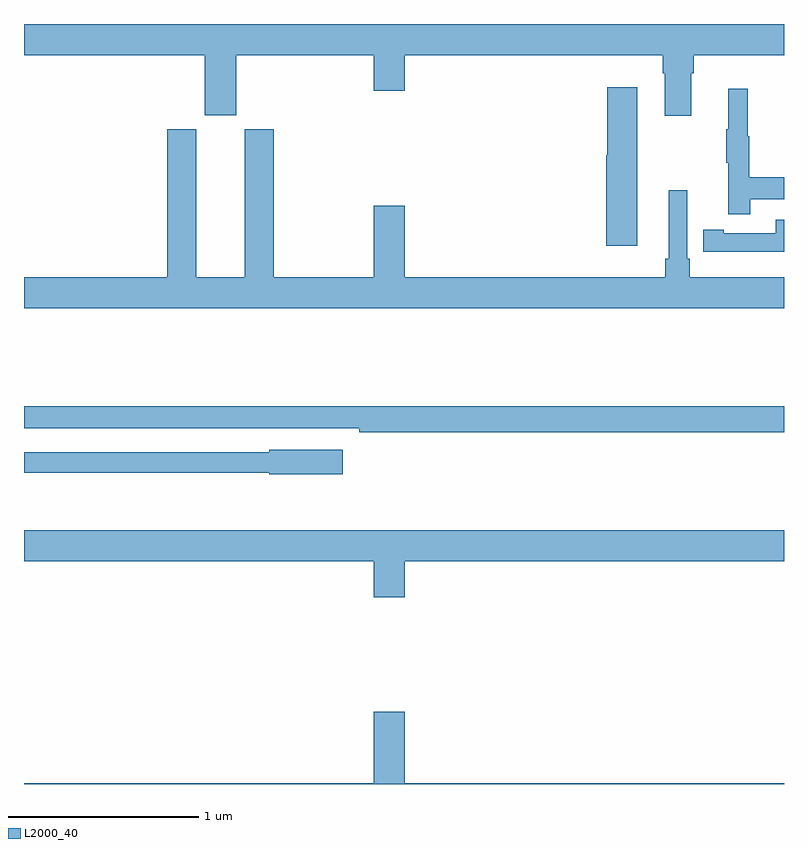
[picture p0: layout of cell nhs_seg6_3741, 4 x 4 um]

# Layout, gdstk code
import gdstk
lib = gdstk.Library(unit=1e-6, precision=1e-09)
def P(c, l, *ps):  # polygons
    for p in ps: c.add(gdstk.Polygon(p, *l))
L2000_40 = (2000, 40)

nhs_seg6_3741 = lib.new_cell('nhs_seg6_3741')
P(nhs_seg6_3741, L2000_40, [(331,947.336),(331.952,947.336),(331.952,947.019),(332.116,947.019),(332.116,947.336),(332.84,947.336),(332.84,947.148),(333.004,947.148),(333.004,947.336),(334.361,947.336),(334.361,947.24),(334.373,947.24),(334.373,947.016),(334.513,947.016),(334.513,947.24),(334.526,947.24),(334.526,947.336),(335,947.336),(335,947.5),(331,947.5)],
  [(334.228,947.167),(334.07,947.167),(334.07,946.809),(334.064,946.809),(334.064,946.332),(334.228,946.332)],
  [(334.823,946.578),(335,946.578),(335,946.694),(334.816,946.694),(334.816,946.908),(334.808,946.908),(334.808,947.158),(334.706,947.158),(334.706,946.945),(334.695,946.945),(334.695,946.771),(334.706,946.771),(334.706,946.5),(334.823,946.5)],
  [(335,946.168),(334.505,946.168),(334.505,946.264),(334.491,946.264),(334.491,946.624),(334.394,946.624),(334.394,946.264),(334.375,946.264),(334.375,946.168),(333.004,946.168),(333.004,946.543),(332.84,946.543),(332.84,946.168),(332.315,946.168),(332.315,946.947),(332.162,946.947),(332.162,946.168),(331.906,946.168),(331.906,946.947),(331.754,946.947),(331.754,946.168),(331,946.168),(331,946.004),(335,946.004)],
  [(335,946.47),(334.956,946.47),(334.956,946.398),(334.684,946.398),(334.684,946.418),(334.576,946.418),(334.576,946.302),(334.684,946.302),(334.684,946.301),(335,946.301)],
  [(335,945.488),(331,945.488),(331,945.372),(332.764,945.372),(332.764,945.352),(335,945.352)],
  [(332.677,945.259),(332.292,945.259),(332.292,945.246),(331,945.246),(331,945.138),(332.292,945.138),(332.292,945.13),(332.677,945.13)],
  [(333.004,944.672),(335,944.672),(335,944.836),(331,944.836),(331,944.672),(332.84,944.672),(332.84,944.484),(333.004,944.484)],
  [(335,943.504),(333.004,943.504),(333.004,943.879),(332.84,943.879),(332.84,943.504),(331,943.504),(331,943.5),(335,943.5)])

lib.write_gds('nhs_seg6_3741.gds')
